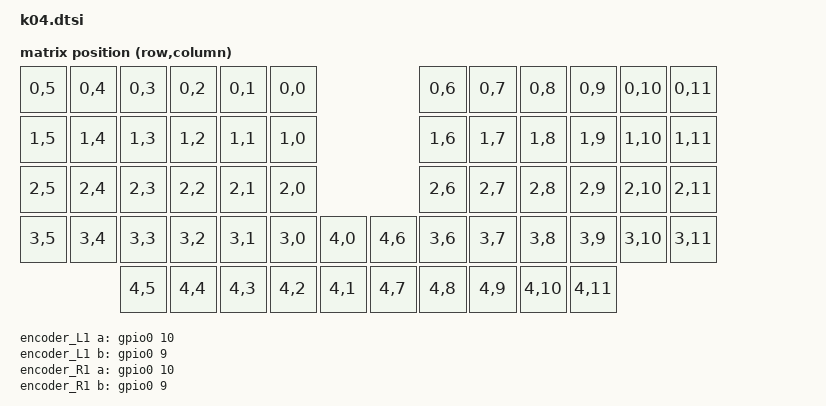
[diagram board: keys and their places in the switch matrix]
#include <dt-bindings/zmk/matrix_transform.h>
#include <dt-bindings/led/led.h>
#include <zephyr/dt-bindings/input/input-event-codes.h>
#include "k04_layout.dtsi"

/ {
    chosen {
      zmk,kscan = &kscan0;
      zmk,physical-layout = &physical_layout;
      zmk,battery = &vbatt;
      zmk,underglow = &led_strip;
    };

    default_transform: keymap_transform_0 {
      compatible = "zmk,matrix-transform";
      columns = <12>;
      rows = <5>;
      map = <
RC(0,5)  RC(0,4)  RC(0,3)  RC(0,2)  RC(0,1)  RC(0,0)                      RC(0,6)  RC(0,7)  RC(0,8)  RC(0,9)  RC(0,10)  RC(0,11)
RC(1,5)  RC(1,4)  RC(1,3)  RC(1,2)  RC(1,1)  RC(1,0)                      RC(1,6)  RC(1,7)  RC(1,8)  RC(1,9)  RC(1,10)  RC(1,11)
RC(2,5)  RC(2,4)  RC(2,3)  RC(2,2)  RC(2,1)  RC(2,0)                      RC(2,6)  RC(2,7)  RC(2,8)  RC(2,9)  RC(2,10)  RC(2,11)
RC(3,5)  RC(3,4)  RC(3,3)  RC(3,2)  RC(3,1)  RC(3,0)  RC(4,0)    RC(4,6)  RC(3,6)  RC(3,7)  RC(3,8)  RC(3,9)  RC(3,10)  RC(3,11)
                  RC(4,5)  RC(4,4)  RC(4,3)  RC(4,2)  RC(4,1)    RC(4,7)  RC(4,8)  RC(4,9)  RC(4,10) RC(4,11)
      >;
    };

    kscan0: kscan {
      diode-direction = "col2row";
      wakeup-source;
    };

    vbatt: vbatt {
        status = "okay";
        compatible = "zmk,battery-voltage-divider";
        io-channels = <&adc 7>;
        output-ohms = <1564000>;
        full-ohms = <(806000 + 1564000)>;
    };

    encoder_L1: encoder_L1 {
        compatible = "alps,ec11";
        a-gpios = <&gpio0 10 (GPIO_ACTIVE_HIGH | GPIO_PULL_UP)>;
        b-gpios = <&gpio0  9 (GPIO_ACTIVE_HIGH | GPIO_PULL_UP)>;
        steps = <24>;
        status = "disabled";
    };

    encoder_R1: encoder_R1 {
        compatible = "alps,ec11";
        a-gpios = <&gpio0 10 (GPIO_ACTIVE_HIGH | GPIO_PULL_UP)>;
        b-gpios = <&gpio0  9 (GPIO_ACTIVE_HIGH | GPIO_PULL_UP)>;
        steps = <24>;
        status = "disabled";
    };

    sensors: sensors {
        compatible = "zmk,keymap-sensors";
        sensors = <&encoder_L1 &encoder_R1>;
        triggers-per-rotation = <12>;
    };

    tps43_listener: tps43_listener {
        compatible = "zmk,input-listener";
        status = "disabled";
    };

    split_inputs {
        #address-cells = <1>;
        #size-cells = <0>;

        trackball_split: trackball_split@0 {
            compatible = "zmk,input-split";
            reg = <0>;
            status = "disabled";
        };
    };
};

&i2c0 {
    status = "disabled";
    tps43: iqs5xx@74 {
        status = "disabled";
        compatible = "azoteq,iqs5xx";
        reg = <0x74>;

        reset-gpios = <&gpio0 24 GPIO_ACTIVE_LOW>;
        rdy-gpios = <&gpio0 13 GPIO_ACTIVE_HIGH>;

        /*
         * Potentially non-exhaustive list of configuration options.
         * See: dts/bindings/input/azoteq,iqs5xx-common.yaml for a full list.
         */
        one-finger-tap;
        press-and-hold;
        press-and-hold-time = <250>;
        two-finger-tap;

        scroll;
        natural-scroll-y;
        natural-scroll-x;

        bottom-beta = <5>;
        stationary-threshold = <5>;

        switch-xy;
    };
};

&pinctrl {
    i2c0_default: i2c0_default {
        group1 {
            psels = <NRF_PSEL(TWIM_SDA, 0, 24)>,
                <NRF_PSEL(TWIM_SCL, 0, 13)>;
        };
    };

    i2c0_sleep: i2c0_sleep {
        group1 {
            psels = <NRF_PSEL(TWIM_SDA, 0, 24)>,
                <NRF_PSEL(TWIM_SCL, 0, 13)>;
            low-power-enable;
        };
    };

    spi3_default: spi3_default {
        group1 {
            psels = <NRF_PSEL(SPIM_MOSI, 0, 30)>;
        };
    };

    spi3_sleep: spi3_sleep {
        group1 {
            psels = <NRF_PSEL(SPIM_MOSI, 0, 30)>;
            low-power-enable;
        };
    };
};

&spi3 {
    compatible = "nordic,nrf-spim";
    status = "okay";

    pinctrl-0 = <&spi3_default>;
    pinctrl-1 = <&spi3_sleep>;
    pinctrl-names = "default", "sleep";

    led_strip: ws2812@0 {
        compatible = "worldsemi,ws2812-spi";

        /* SPI */
        reg = <0>; /* ignored, but necessary for SPI bindings */
        spi-max-frequency = <4000000>;

        /* WS2812 */
        chain-length = <1>; /* number of LEDs */
        spi-one-frame = <0x70>;
        spi-zero-frame = <0x40>;
        color-mapping = <LED_COLOR_ID_GREEN
                         LED_COLOR_ID_RED
                         LED_COLOR_ID_BLUE>;
    };
};
